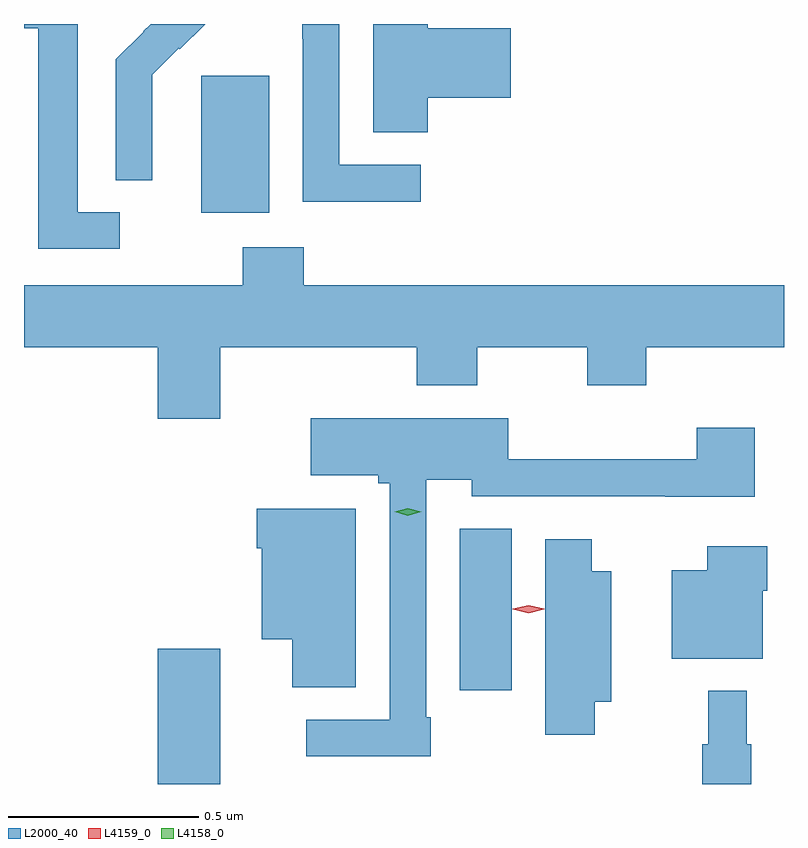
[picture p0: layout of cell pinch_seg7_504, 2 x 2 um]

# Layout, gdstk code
import gdstk
lib = gdstk.Library(unit=1e-6, precision=1e-09)
def R(c, l, rs):  # rectangles x0, y0, x1, y1
    for r in rs: c.add(gdstk.rectangle(r[:2], r[2:], *l))
def P(c, l, *ps):  # polygons
    for p in ps: c.add(gdstk.Polygon(p, *l))
L2000_40 = (2000, 40)
L4158_0 = (4158, 0)
L4159_0 = (4159, 0)

pinch_seg7_504 = lib.new_cell('pinch_seg7_504')
R(pinch_seg7_504, L2000_40, [(212.96,1079.387,213.124,1079.743), (213.755,1079.634,213.892,1080.059), (213.074,1080.89,213.253,1081.251)])
P(pinch_seg7_504, L2000_40, [(213.652,1081.017),(213.438,1081.017),(213.438,1081.387),(213.34,1081.387),(213.34,1081.348),(213.342,1081.348),(213.342,1080.919),(213.652,1080.919)],
  [(212.946,1081.13),(212.945,1081.13),(212.945,1081.253),(213.015,1081.323),(213.018,1081.32),(213.085,1081.387),(212.941,1081.387),(212.922,1081.368),(212.923,1081.367),(212.85,1081.294),(212.85,1080.976),(212.946,1080.976)],
  [(213.671,1081.193),(213.889,1081.193),(213.889,1081.376),(213.671,1081.376),(213.671,1081.387),(213.527,1081.387),(213.527,1081.102),(213.671,1081.102)],
  [(212.86,1080.891),(212.749,1080.891),(212.749,1081.387),(212.608,1081.387),(212.608,1081.376),(212.645,1081.376),(212.645,1080.795),(212.86,1080.795)],
  [(213.641,1080.437),(213.801,1080.437),(213.801,1080.536),(214.09,1080.536),(214.09,1080.437),(214.245,1080.437),(214.245,1080.536),(214.608,1080.536),(214.608,1080.7),(213.344,1080.7),(213.344,1080.799),(213.184,1080.799),(213.184,1080.7),(212.608,1080.7),(212.608,1080.536),(212.96,1080.536),(212.96,1080.348),(213.124,1080.348),(213.124,1080.536),(213.641,1080.536)],
  [(213.679,1079.563),(213.666,1079.563),(213.666,1080.188),(213.786,1080.188),(213.786,1080.144),(214.295,1080.144),(214.295,1080.143),(214.531,1080.143),(214.531,1080.325),(214.379,1080.325),(214.379,1080.242),(213.882,1080.242),(213.882,1080.349),(213.363,1080.349),(213.363,1080.2),(213.54,1080.2),(213.54,1080.179),(213.57,1080.179),(213.57,1079.556),(213.351,1079.556),(213.351,1079.46),(213.679,1079.46)],
  [(213.481,1080.112),(213.221,1080.112),(213.221,1080.008),(213.233,1080.008),(213.233,1079.768),(213.314,1079.768),(213.314,1079.641),(213.481,1079.641)],
  [(214.11,1079.603),(214.153,1079.603),(214.153,1079.947),(214.102,1079.947),(214.102,1080.031),(213.98,1080.031),(213.98,1079.517),(214.11,1079.517)],
  [(214.552,1079.895),(214.564,1079.895),(214.564,1080.013),(214.406,1080.013),(214.406,1079.95),(214.313,1079.95),(214.313,1079.717),(214.552,1079.717)],
  [(214.408,1079.632),(214.408,1079.492),(214.393,1079.492),(214.393,1079.387),(214.522,1079.387),(214.522,1079.492),(214.51,1079.492),(214.51,1079.632)])
P(pinch_seg7_504, L4158_0, [(213.618,1080.093),(213.583,1080.104),(213.583,1080.104),(213.583,1080.104),(213.618,1080.113),(213.653,1080.103),(213.653,1080.103),(213.653,1080.103)])
P(pinch_seg7_504, L4159_0, [(213.936,1079.837),(213.894,1079.847),(213.894,1079.847),(213.894,1079.848),(213.936,1079.857),(213.977,1079.848),(213.977,1079.847),(213.977,1079.847)])

lib.write_gds('pinch_seg7_504.gds')
